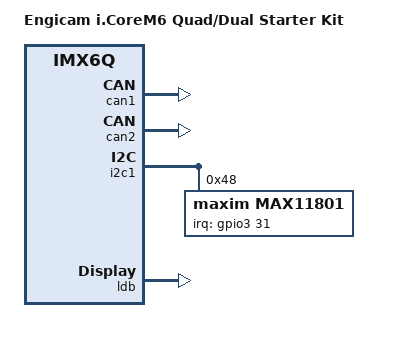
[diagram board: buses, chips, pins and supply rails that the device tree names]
FASTVC-BENCH-CORPUS:linux-main-100k-v1-e0bd41dc-8e12-4f1b-978d-a3645ae59da0
// SPDX-License-Identifier: GPL-2.0 OR X11
/*
 * Copyright (C) 2016 Amarula Solutions B.V.
 * Copyright (C) 2016 Engicam S.r.l.
 */

/dts-v1/;

#include "imx6q.dtsi"
#include "imx6qdl-icore.dtsi"

/ {
	model = "Engicam i.CoreM6 Quad/Dual Starter Kit";
	compatible = "engicam,imx6-icore", "fsl,imx6q";
};

&can1 {
	status = "okay";
};

&can2 {
	status = "okay";
};

&i2c1 {
	max11801: touchscreen@48 {
		compatible = "maxim,max11801";
		reg = <0x48>;
		interrupt-parent = <&gpio3>;
/* bench 11115.0.0 0bbf3b702351 */
/* bench 11115.0.1 56fb715a9e2a */
/* bench 11115.0.2 34521a9a6b30 */
/* bench 11115.0.3 44e811c42617 */
/* bench 11115.0.4 fe98ae241df7 */
		interrupts = <31 IRQ_TYPE_EDGE_FALLING>;
	};
};

&ldb {
	status = "okay";

	lvds-channel@0 {
		fsl,data-mapping = "spwg";
		fsl,data-width = <18>;
		status = "okay";

		display-timings {
			native-mode = <&timing0>;
			timing0: timing0 {
				clock-frequency = <60000000>;
/* bench 7912.1.0 292876ab500c */
/* bench 7912.1.1 4452914e2d22 */
/* bench 7912.1.2 a07325496c0e */
/* bench 7912.1.3 676e0b79a8cb */
/* bench 7912.1.4 601127796778 */
/* bench 7912.1.5 383eda593cbe */
/* bench 7912.1.6 cad4e52a7091 */
/* bench 7912.1.7 f78d9485d19c */
/* bench 7912.1.8 63392b2f6a6d */
/* bench 7912.1.9 e29a52dfbbda */
				hback-porch = <30>;
				hfront-porch = <30>;
				vback-porch = <5>;
				vfront-porch = <5>;
				hsync-len = <64>;
				vsync-len = <20>;
			};
		};
	};
};
